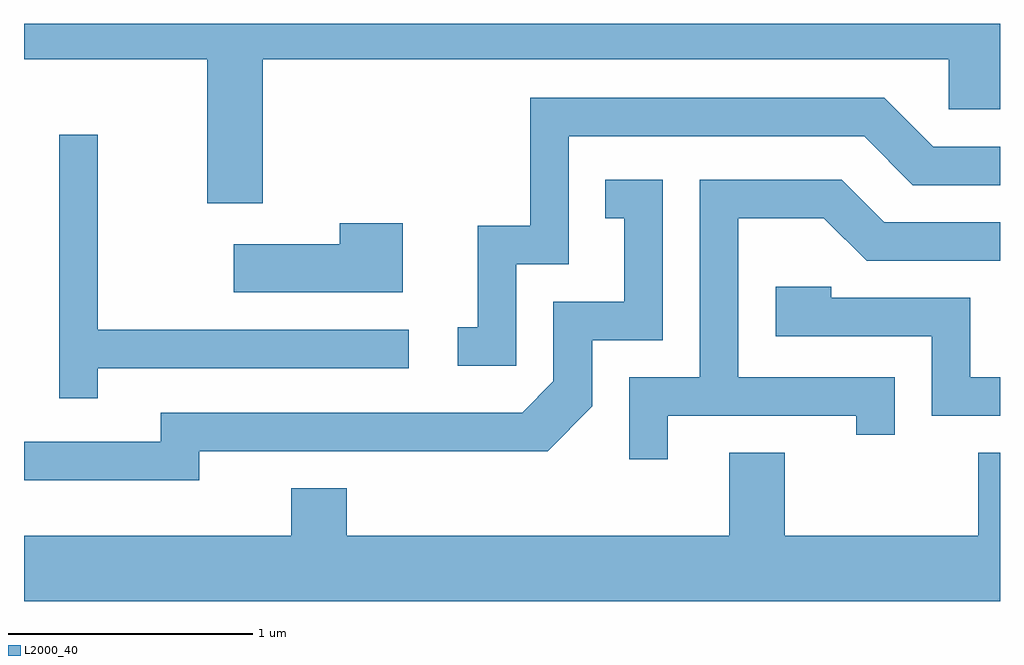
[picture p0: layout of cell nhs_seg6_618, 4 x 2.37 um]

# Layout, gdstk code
import gdstk
lib = gdstk.Library(unit=1e-6, precision=1e-09)
def P(c, l, *ps):  # polygons
    for p in ps: c.add(gdstk.Polygon(p, *l))
L2000_40 = (2000, 40)

nhs_seg6_618 = lib.new_cell('nhs_seg6_618')
P(nhs_seg6_618, L2000_40, [(204.589,1570.016),(207.401,1570.016),(207.401,1569.811),(207.611,1569.811),(207.611,1570.162),(203.611,1570.162),(203.611,1570.016),(204.361,1570.016),(204.361,1569.426),(204.589,1569.426)],
  [(205.629,1569.176),(205.844,1569.176),(205.844,1569.701),(207.054,1569.701),(207.254,1569.501),(207.611,1569.501),(207.611,1569.659),(207.337,1569.659),(207.137,1569.859),(205.686,1569.859),(205.686,1569.334),(205.471,1569.334),(205.471,1568.919),(205.388,1568.919),(205.388,1568.761),(205.629,1568.761)],
  [(203.914,1568.751),(205.188,1568.751),(205.188,1568.909),(203.914,1568.909),(203.914,1569.708),(203.756,1569.708),(203.756,1568.628),(203.914,1568.628)],
  [(206.249,1568.556),(207.021,1568.556),(207.021,1568.478),(207.179,1568.478),(207.179,1568.714),(206.539,1568.714),(206.539,1569.366),(206.889,1569.366),(207.064,1569.191),(207.611,1569.191),(207.611,1569.349),(207.137,1569.349),(206.962,1569.524),(206.381,1569.524),(206.381,1568.714),(206.091,1568.714),(206.091,1568.378),(206.249,1568.378)],
  [(204.329,1568.411),(205.757,1568.411),(205.939,1568.594),(205.939,1568.866),(206.229,1568.866),(206.229,1569.524),(205.993,1569.524),(205.993,1569.366),(206.071,1569.366),(206.071,1569.024),(205.781,1569.024),(205.781,1568.697),(205.654,1568.569),(204.171,1568.569),(204.171,1568.449),(203.611,1568.449),(203.611,1568.291),(204.329,1568.291)],
  [(205.164,1569.344),(204.906,1569.344),(204.906,1569.259),(204.471,1569.259),(204.471,1569.061),(205.164,1569.061)],
  [(207.611,1568.714),(207.489,1568.714),(207.489,1569.039),(206.919,1569.039),(206.919,1569.084),(206.691,1569.084),(206.691,1568.881),(207.331,1568.881),(207.331,1568.556),(207.611,1568.556)],
  [(207.611,1568.404),(207.521,1568.404),(207.521,1568.064),(206.729,1568.064),(206.729,1568.404),(206.501,1568.404),(206.501,1568.064),(204.934,1568.064),(204.934,1568.259),(204.706,1568.259),(204.706,1568.064),(203.611,1568.064),(203.611,1567.796),(207.611,1567.796)])

lib.write_gds('nhs_seg6_618.gds')
